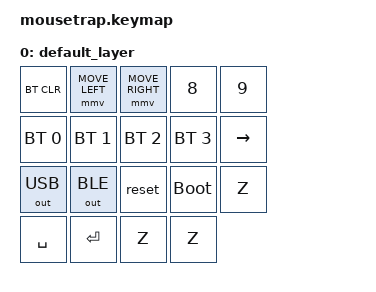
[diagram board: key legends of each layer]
/*
 * Copyright (c) 2020 The ZMK Contributors
 *
 * SPDX-License-Identifier: MIT
 */

#include <behaviors.dtsi>
#include <dt-bindings/zmk/keys.h>
#include <dt-bindings/zmk/bt.h>
#include <dt-bindings/zmk/outputs.h>
#include <dt-bindings/zmk/mouse.h>

/ {
    keymap {
        compatible = "zmk,keymap";

        default_layer {
            bindings = <
    
   &bt BT_CLR     &mmv MOVE_LEFT &mmv MOVE_RIGHT &kp N8 &kp N9
   &bt BT_SEL 0   &bt BT_SEL 1   &bt BT_SEL 2    &bt BT_SEL 3 &kp RIGHT
   &out OUT_USB   &out OUT_BLE   &reset          &bootloader &kp Z
   &kp SPACE      &kp RET        &kp Z           &kp Z 

    
    
    
            >;
        };

 };
};

